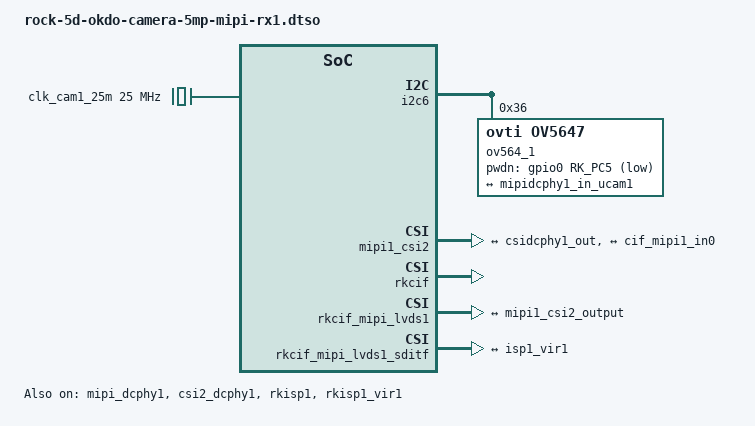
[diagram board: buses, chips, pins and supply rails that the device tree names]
/dts-v1/;
/plugin/;

#include <dt-bindings/gpio/gpio.h>
#include <dt-bindings/pinctrl/rockchip.h>

/ {
	metadata {
		title ="Enable OKDO 5MP Camera on the MIPI-RX1 connector";
		compatible = "radxa,rock-5d";
		category = "camera";
		exclusive = "csi2_dcphy1";
		description = "Enable OKDO 5MP Camera on the MIPI-RX1 connector.";
	};
};

&{/} {
	clk_cam1_25m: external-camera-clock-25m-1 {
		compatible = "fixed-clock";
		clock-frequency = <25000000>;
		clock-output-names = "clk_cam1_25m";
		#clock-cells = <0>;
	};
};

&i2c6 {
	status = "okay";
	#address-cells = <1>;
	#size-cells = <0>;
	pinctrl-names = "default";
	pinctrl-0 = <&i2c6m0_xfer>;
	
	ov564_1: ov5647-1@36 {
		status = "okay";
		compatible = "ovti,ov5647";
		reg = <0x36>;
		clocks = <&clk_cam1_25m>;
		pwdn-gpios = <&gpio0 RK_PC5 GPIO_ACTIVE_LOW>;
		clock-names = "ext_cam_clk_1";
		rockchip,camera-module-index = <2>;
		rockchip,camera-module-facing = "back";
		rockchip,camera-module-name = "OKDO-5MP";
		rockchip,camera-module-lens-name = "default";

		port {
			ov5647_out1: endpoint {
				remote-endpoint = <&mipidcphy1_in_ucam1>;
				data-lanes = <1 2>;
			};
		};
	};	
};

&mipi_dcphy1 {
	status = "okay";
};

&csi2_dcphy1 {
	status = "okay";

	ports {
		#address-cells = <1>;
		#size-cells = <0>;

		port@0 {
			reg = <0>;
			#address-cells = <1>;
			#size-cells = <0>;

			mipidcphy1_in_ucam1: endpoint@2 {
				reg = <2>;
				remote-endpoint = <&ov5647_out1>;
				data-lanes = <1 2>;
			};
		};

		port@1 {
			reg = <1>;
			#address-cells = <1>;
			#size-cells = <0>;

			csidcphy1_out: endpoint@0 {
				reg = <0>;
				remote-endpoint = <&mipi1_csi2_input>;
			};
		};
	};
};

&mipi1_csi2 {
	status = "okay";

	ports {
		#address-cells = <1>;
		#size-cells = <0>;

		port@0 {
			reg = <0>;
			#address-cells = <1>;
			#size-cells = <0>;

			mipi1_csi2_input: endpoint@1 {
				reg = <1>;
				remote-endpoint = <&csidcphy1_out>;
			};
		};

		port@1 {
			reg = <1>;
			#address-cells = <1>;
			#size-cells = <0>;

			mipi1_csi2_output: endpoint@0 {
				reg = <0>;
				remote-endpoint = <&cif_mipi1_in0>;
			};
		};
	};
};

&rkcif {
	status = "okay";
};

&rkcif_mipi_lvds1 {
	status = "okay";

	port {
		cif_mipi1_in0: endpoint {
			remote-endpoint = <&mipi1_csi2_output>;
		};
	};
};

&rkcif_mipi_lvds1_sditf {
	status = "okay";

	port {
		mipi_lvds1_sditf: endpoint {
			remote-endpoint = <&isp1_vir1>;
		};
	};
};

&rkcif_mmu {
	status = "okay";
};

&isp1_mmu {
	status = "okay";
};

&rkisp1 {
	status = "okay";
};

&rkisp1_vir1 {
	status = "okay";

	port {
		#address-cells = <1>;
		#size-cells = <0>;

		isp1_vir1: endpoint@0 {
			reg = <0>;
			remote-endpoint = <&mipi_lvds1_sditf>;
		};
	};
};
